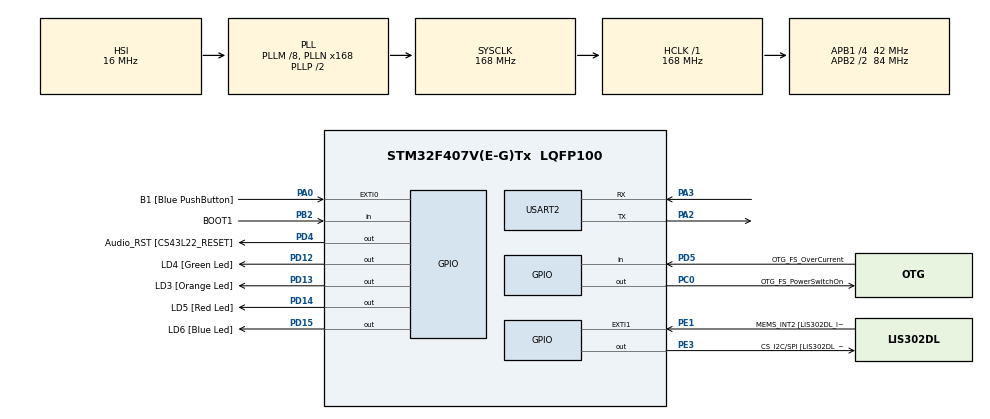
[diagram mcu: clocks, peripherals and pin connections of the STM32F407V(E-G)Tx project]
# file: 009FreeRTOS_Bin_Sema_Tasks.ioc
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Mcu.Family=STM32F4
Mcu.Name=STM32F407V(E-G)Tx
Mcu.Package=LQFP100
NVIC.PriorityGroup=NVIC_PRIORITYGROUP_4
NVIC.TIM6_DAC_IRQn=true\:0\:0\:false\:false\:true\:false\:true
NVIC.TimeBase=TIM6_DAC_IRQn
NVIC.TimeBaseIP=TIM6
NVIC.USART2_IRQn=true\:6\:0\:true\:false\:true\:true\:true
PA0-WKUP.GPIO_Label=B1 [Blue PushButton]
PA0-WKUP.Signal=GPXTI0
PA10.GPIO_Label=OTG_FS_ID
PA10.GPIO_Mode=GPIO_MODE_AF_PP
PA10.GPIO_PuPd=GPIO_NOPULL
PA10.GPIO_Speed=GPIO_SPEED_FREQ_LOW
PA10.Signal=USB_OTG_FS_ID
PA11.GPIO_Label=OTG_FS_DM
PA11.GPIO_Mode=GPIO_MODE_AF_PP
PA11.GPIO_PuPd=GPIO_NOPULL
PA11.GPIO_Speed=GPIO_SPEED_FREQ_LOW
PA11.Signal=USB_OTG_FS_DM
PA12.GPIO_Label=OTG_FS_DP
PA12.GPIO_Mode=GPIO_MODE_AF_PP
PA12.GPIO_PuPd=GPIO_NOPULL
PA12.GPIO_Speed=GPIO_SPEED_FREQ_LOW
PA12.Signal=USB_OTG_FS_DP
PA13.GPIO_Label=SWDIO
PA13.Signal=SYS_JTMS-SWDIO
PA14.GPIO_Label=SWCLK
PA14.Signal=SYS_JTCK-SWCLK
PA2.Mode=Asynchronous
PA2.Signal=USART2_TX
PA3.Mode=Asynchronous
PA3.Signal=USART2_RX
PA4.GPIO_Label=I2S3_WS [CS43L22_LRCK]
PA4.GPIO_Mode=GPIO_MODE_AF_PP
PA4.GPIO_PuPd=GPIO_NOPULL
PA4.GPIO_Speed=GPIO_SPEED_FREQ_LOW
PA4.Signal=I2S3_WS
PA5.GPIO_Label=SPI1_SCK [LIS302DL_SCL/SPC]
PA5.GPIO_Mode=GPIO_MODE_AF_PP
PA5.GPIO_PuPd=GPIO_NOPULL
PA5.GPIO_Speed=GPIO_SPEED_FREQ_LOW
PA5.Signal=SPI1_SCK
PA6.GPIO_Label=SPI1_MISO [LIS302DL_SDO]
PA6.GPIO_Mode=GPIO_MODE_AF_PP
PA6.GPIO_PuPd=GPIO_NOPULL
PA6.GPIO_Speed=GPIO_SPEED_FREQ_LOW
PA6.Signal=SPI1_MISO
PA7.GPIO_Label=SPI1_MOSI [LIS302DL_SDA/SDI/SDO]
PA7.GPIO_Mode=GPIO_MODE_AF_PP
PA7.GPIO_PuPd=GPIO_NOPULL
PA7.GPIO_Speed=GPIO_SPEED_FREQ_LOW
PA7.Signal=SPI1_MOSI
PA9.GPIO_Label=VBUS_FS
PA9.GPIO_Mode=GPIO_MODE_INPUT
PA9.GPIO_PuPd=GPIO_NOPULL
PA9.Signal=USB_OTG_FS_VBUS
PB10.GPIO_Label=CLK_IN [MP45DT02_CLK]
PB10.GPIO_Mode=GPIO_MODE_AF_PP
PB10.GPIO_PuPd=GPIO_NOPULL
PB10.GPIO_Speed=GPIO_SPEED_FREQ_LOW
PB10.Signal=I2S2_CK
PB2.GPIO_Label=BOOT1
PB2.GPIO_Mode=GPIO_MODE_INPUT
PB2.GPIO_PuPd=GPIO_NOPULL
PB2.Signal=GPIO_Input
PB3.GPIO_Label=SWO
PB3.Signal=SYS_JTDO-SWO
PB6.GPIO_Label=Audio_SCL [CS43L22_SCL]
PB6.GPIO_Mode=GPIO_MODE_AF_OD
PB6.GPIO_PuPd=GPIO_NOPULL
PB6.GPIO_Speed=GPIO_SPEED_FREQ_LOW
PB6.Signal=I2C1_SCL
PB9.GPIO_Label=Audio_SDA [CS43L22_SDA]
PB9.GPIO_Mode=GPIO_MODE_AF_OD
PB9.GPIO_PuPd=GPIO_NOPULL
PB9.GPIO_Speed=GPIO_SPEED_FREQ_LOW
PB9.Signal=I2C1_SDA
PC0.GPIO_Label=OTG_FS_PowerSwitchOn
PC0.GPIO_PuPd=GPIO_NOPULL
PC0.GPIO_Speed=GPIO_SPEED_FREQ_LOW
PC0.PinState=GPIO_PIN_SET
PC0.Signal=GPIO_Output
PC10.GPIO_Label=I2S3_SCK [CS43L22_SCLK]
PC10.GPIO_Mode=GPIO_MODE_AF_PP
PC10.GPIO_PuPd=GPIO_NOPULL
PC10.GPIO_Speed=GPIO_SPEED_FREQ_LOW
PC10.Signal=I2S3_CK
PC12.GPIO_Label=I2S3_SD [CS43L22_SDIN]
PC12.GPIO_Mode=GPIO_MODE_AF_PP
PC12.GPIO_PuPd=GPIO_NOPULL
PC12.GPIO_Speed=GPIO_SPEED_FREQ_LOW
PC12.Signal=I2S3_SD
PC14-OSC32_IN.GPIO_Label=PC14-OSC32_IN
PC14-OSC32_IN.Signal=RCC_OSC32_IN
PC15-OSC32_OUT.GPIO_Label=PC15-OSC32_OUT
PC15-OSC32_OUT.Signal=RCC_OSC32_OUT
PC3.GPIO_Label=PDM_OUT [MP45DT02_DOUT]
PC3.GPIO_Mode=GPIO_MODE_AF_PP
PC3.GPIO_PuPd=GPIO_NOPULL
PC3.GPIO_Speed=GPIO_SPEED_FREQ_LOW
PC3.Signal=I2S2_SD
PC7.GPIO_Label=I2S3_MCK [CS43L22_MCLK]
PC7.GPIO_Mode=GPIO_MODE_AF_PP
PC7.GPIO_PuPd=GPIO_NOPULL
PC7.GPIO_Speed=GPIO_SPEED_FREQ_LOW
PC7.Signal=I2S3_MCK
PD12.GPIO_Label=LD4 [Green Led]
PD12.GPIO_PuPd=GPIO_NOPULL
PD12.GPIO_Speed=GPIO_SPEED_FREQ_LOW
PD12.Signal=GPIO_Output
PD13.GPIO_Label=LD3 [Orange Led]
PD13.GPIO_PuPd=GPIO_NOPULL
PD13.GPIO_Speed=GPIO_SPEED_FREQ_LOW
PD13.Signal=GPIO_Output
PD14.GPIO_Label=LD5 [Red Led]
PD14.GPIO_PuPd=GPIO_NOPULL
PD14.GPIO_Speed=GPIO_SPEED_FREQ_LOW
PD14.Signal=GPIO_Output
PD15.GPIO_Label=LD6 [Blue Led]
PD15.GPIO_PuPd=GPIO_NOPULL
PD15.GPIO_Speed=GPIO_SPEED_FREQ_LOW
PD15.Signal=GPIO_Output
PD4.GPIO_Label=Audio_RST [CS43L22_RESET]
PD4.GPIO_PuPd=GPIO_NOPULL
PD4.GPIO_Speed=GPIO_SPEED_FREQ_LOW
PD4.Signal=GPIO_Output
PD5.GPIO_Label=OTG_FS_OverCurrent
PD5.GPIO_Mode=GPIO_MODE_INPUT
PD5.GPIO_PuPd=GPIO_NOPULL
PD5.Signal=GPIO_Input
PE1.GPIO_Label=MEMS_INT2 [LIS302DL_INT2]
PE1.GPIO_ModeDefaultEXTI=GPIO_MODE_EVT_RISING
PE1.GPIO_PuPd=GPIO_NOPULL
PE1.Signal=GPXTI1
PE3.GPIO_Label=CS_I2C/SPI [LIS302DL_CS_I2C/SPI]
PE3.GPIO_PuPd=GPIO_NOPULL
PE3.GPIO_Speed=GPIO_SPEED_FREQ_LOW
PE3.Signal=GPIO_Output
PH0-OSC_IN.GPIO_Label=PH0-OSC_IN
PH0-OSC_IN.Signal=RCC_OSC_IN
PH1-OSC_OUT.GPIO_Label=PH1-OSC_OUT
PH1-OSC_OUT.Signal=RCC_OSC_OUT
ProjectManager.HeapSize=0x200
ProjectManager.StackSize=0x400
ProjectManager.TargetToolchain=STM32CubeIDE
RCC.48MHZClocksFreq_Value=48000000
RCC.AHBFreq_Value=168000000
RCC.APB1CLKDivider=RCC_HCLK_DIV4
RCC.APB1Freq_Value=42000000
RCC.APB1TimFreq_Value=84000000
RCC.APB2CLKDivider=RCC_HCLK_DIV2
RCC.APB2Freq_Value=84000000
RCC.APB2TimFreq_Value=168000000
RCC.CortexFreq_Value=168000000
RCC.HCLKFreq_Value=168000000
RCC.HSE_VALUE=8000000
RCC.HSI_VALUE=16000000
RCC.LSE_VALUE=32768
RCC.PLLM=8
RCC.PLLN=168
RCC.PLLQ=7
RCC.SYSCLKFreq_VALUE=168000000
RCC.SYSCLKSource=RCC_SYSCLKSOURCE_PLLCLK
RCC.VCOOutputFreq_Value=336000000
USART2.VirtualMode=VM_ASYNC
VP_SYS_VS_tim6.Mode=TIM6
board=STM32F407G-DISC1

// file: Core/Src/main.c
/* USER CODE BEGIN Header */
/**
  ******************************************************************************
  * @file           : main.c
  * @brief          : Main program body
  ******************************************************************************
  * @attention
  *
  * Copyright (c) 2024 STMicroelectronics.
  * All rights reserved.
  *
  * This software is licensed under terms that can be found in the LICENSE file
  * in the root directory of this software component.
  * If no LICENSE file comes with this software, it is provided AS-IS.
  *
  ******************************************************************************
  */
/* USER CODE END Header */
#include "main.h"

UART_HandleTypeDef huart2;

/* USER CODE BEGIN PV */
TaskHandle_t xTaskHandleM=NULL;
TaskHandle_t xTaskHandleE=NULL;

xSemaphoreHandle xWork;

xQueueHandle xWorkQueue;

char ur_msg[250]={0};

/* USER CODE END PV */

void SystemClock_Config(void);
static void MX_GPIO_Init(void);
static void MX_USART2_UART_Init(void);
/* USER CODE BEGIN PFP */

static void vManagerTask(void *pvParamaters);
static void vEmployeeTask(void *pvParamters);

void EmployeeDoWork(unsigned char TicketId);

void print_msg(char *msg);
/* USER CODE END PFP */

int main(void)
{
  /* USER CODE BEGIN 1 */
	BaseType_t status;
  /* USER CODE END 1 */

  /* MCU Configuration--------------------------------------------------------*/

  /* Reset of all peripherals, Initializes the Flash interface and the Systick. */
  HAL_Init();

  /* Configure the system clock */
  SystemClock_Config();

  /* Initialize all configured peripherals */
  MX_GPIO_Init();
  MX_USART2_UART_Init();
  /* USER CODE BEGIN 2 */

  sprintf(ur_msg,"Demo of binary semaphore usage between 2 tasks \r\n");
  print_msg(ur_msg);

  /* Before a semaphore is used it must be explicitly created.
       * In this example a binary semaphore is created . */
      vSemaphoreCreateBinary( xWork );

  	/* The queue is created to hold a maximum of 1 Element. */
      xWorkQueue = xQueueCreate( 1, sizeof( unsigned int ) );

      /* Check the semaphore and queue was created successfully. */
      if( (xWork != NULL) && (xWorkQueue != NULL) )
      {

  		/* Create the 'Manager' task.  This is the task that will be synchronized with the Employee task.  The Manager task is created with a high priority  */
          xTaskCreate( vManagerTask, "Manager", 500, NULL, 3, &xTaskHandleM );

          /* Create a employee task with less priority than manager */
          xTaskCreate( vEmployeeTask, "Employee", 500, NULL, 1, &xTaskHandleE );

          /* Start the scheduler so the created tasks start executing. */
          vTaskStartScheduler();
      }

      sprintf(ur_msg,"Queue/Sema create failed.. \r\n");
      print_msg(ur_msg);
  /* USER CODE END 2 */

  /* Infinite loop */
  while (1)
  {

  }
}

void SystemClock_Config(void)
{
  RCC_OscInitTypeDef RCC_OscInitStruct = {0};
  RCC_ClkInitTypeDef RCC_ClkInitStruct = {0};

  /** Configure the main internal regulator output voltage
  */
  __HAL_RCC_PWR_CLK_ENABLE();
  __HAL_PWR_VOLTAGESCALING_CONFIG(PWR_REGULATOR_VOLTAGE_SCALE1);
  /** Initializes the RCC Oscillators according to the specified parameters
  * in the RCC_OscInitTypeDef structure.
  */
  RCC_OscInitStruct.OscillatorType = RCC_OSCILLATORTYPE_HSI;
  RCC_OscInitStruct.HSIState = RCC_HSI_ON;
  RCC_OscInitStruct.HSICalibrationValue = RCC_HSICALIBRATION_DEFAULT;
  RCC_OscInitStruct.PLL.PLLState = RCC_PLL_ON;
  RCC_OscInitStruct.PLL.PLLSource = RCC_PLLSOURCE_HSI;
  RCC_OscInitStruct.PLL.PLLM = 8;
  RCC_OscInitStruct.PLL.PLLN = 168;
  RCC_OscInitStruct.PLL.PLLP = RCC_PLLP_DIV2;
  RCC_OscInitStruct.PLL.PLLQ = 7;
  if (HAL_RCC_OscConfig(&RCC_OscInitStruct) != HAL_OK)
  {
    Error_Handler();
  }
  /** Initializes the CPU, AHB and APB buses clocks
  */
  RCC_ClkInitStruct.ClockType = RCC_CLOCKTYPE_HCLK|RCC_CLOCKTYPE_SYSCLK
                              |RCC_CLOCKTYPE_PCLK1|RCC_CLOCKTYPE_PCLK2;
  RCC_ClkInitStruct.SYSCLKSource = RCC_SYSCLKSOURCE_PLLCLK;
  RCC_ClkInitStruct.AHBCLKDivider = RCC_SYSCLK_DIV1;
  RCC_ClkInitStruct.APB1CLKDivider = RCC_HCLK_DIV4;
  RCC_ClkInitStruct.APB2CLKDivider = RCC_HCLK_DIV2;

  if (HAL_RCC_ClockConfig(&RCC_ClkInitStruct, FLASH_LATENCY_5) != HAL_OK)
  {
    Error_Handler();
  }
}

static void MX_USART2_UART_Init(void)
{

  huart2.Instance = USART2;
  huart2.Init.BaudRate = 115200;
  huart2.Init.WordLength = UART_WORDLENGTH_8B;
  huart2.Init.StopBits = UART_STOPBITS_1;
  huart2.Init.Parity = UART_PARITY_NONE;
  huart2.Init.Mode = UART_MODE_TX_RX;
  huart2.Init.HwFlowCtl = UART_HWCONTROL_NONE;
  huart2.Init.OverSampling = UART_OVERSAMPLING_16;
  if (HAL_UART_Init(&huart2) != HAL_OK)
  {
    Error_Handler();
  }

}

static void MX_GPIO_Init(void)
{
  GPIO_InitTypeDef GPIO_InitStruct = {0};

  /* GPIO Ports Clock Enable */
  __HAL_RCC_GPIOE_CLK_ENABLE();
  __HAL_RCC_GPIOC_CLK_ENABLE();
  __HAL_RCC_GPIOH_CLK_ENABLE();
  __HAL_RCC_GPIOA_CLK_ENABLE();
  __HAL_RCC_GPIOB_CLK_ENABLE();
  __HAL_RCC_GPIOD_CLK_ENABLE();

  /*Configure GPIO pin Output Level */
  HAL_GPIO_WritePin(CS_I2C_SPI_GPIO_Port, CS_I2C_SPI_Pin, GPIO_PIN_RESET);

  /*Configure GPIO pin Output Level */
  HAL_GPIO_WritePin(OTG_FS_PowerSwitchOn_GPIO_Port, OTG_FS_PowerSwitchOn_Pin, GPIO_PIN_SET);

  /*Configure GPIO pin Output Level */
  HAL_GPIO_WritePin(GPIOD, LD4_Pin|LD3_Pin|LD5_Pin|LD6_Pin
                          |Audio_RST_Pin, GPIO_PIN_RESET);

  /*Configure GPIO pin : CS_I2C_SPI_Pin */
  GPIO_InitStruct.Pin = CS_I2C_SPI_Pin;
  GPIO_InitStruct.Mode = GPIO_MODE_OUTPUT_PP;
  GPIO_InitStruct.Pull = GPIO_NOPULL;
  GPIO_InitStruct.Speed = GPIO_SPEED_FREQ_LOW;
  HAL_GPIO_Init(CS_I2C_SPI_GPIO_Port, &GPIO_InitStruct);

  /*Configure GPIO pin : OTG_FS_PowerSwitchOn_Pin */
  GPIO_InitStruct.Pin = OTG_FS_PowerSwitchOn_Pin;
  GPIO_InitStruct.Mode = GPIO_MODE_OUTPUT_PP;
  GPIO_InitStruct.Pull = GPIO_NOPULL;
  GPIO_InitStruct.Speed = GPIO_SPEED_FREQ_LOW;
  HAL_GPIO_Init(OTG_FS_PowerSwitchOn_GPIO_Port, &GPIO_InitStruct);

  /*Configure GPIO pin : PDM_OUT_Pin */
  GPIO_InitStruct.Pin = PDM_OUT_Pin;
  GPIO_InitStruct.Mode = GPIO_MODE_AF_PP;
  GPIO_InitStruct.Pull = GPIO_NOPULL;
  GPIO_InitStruct.Speed = GPIO_SPEED_FREQ_LOW;
  GPIO_InitStruct.Alternate = GPIO_AF5_SPI2;
  HAL_GPIO_Init(PDM_OUT_GPIO_Port, &GPIO_InitStruct);

  /*Configure GPIO pin : B1_Pin */
  GPIO_InitStruct.Pin = B1_Pin;
  GPIO_InitStruct.Mode = GPIO_MODE_IT_RISING;
  GPIO_InitStruct.Pull = GPIO_NOPULL;
  HAL_GPIO_Init(B1_GPIO_Port, &GPIO_InitStruct);

  /*Configure GPIO pin : I2S3_WS_Pin */
  GPIO_InitStruct.Pin = I2S3_WS_Pin;
  GPIO_InitStruct.Mode = GPIO_MODE_AF_PP;
  GPIO_InitStruct.Pull = GPIO_NOPULL;
  GPIO_InitStruct.Speed = GPIO_SPEED_FREQ_LOW;
  GPIO_InitStruct.Alternate = GPIO_AF6_SPI3;
  HAL_GPIO_Init(I2S3_WS_GPIO_Port, &GPIO_InitStruct);

  /*Configure GPIO pins : SPI1_SCK_Pin SPI1_MISO_Pin SPI1_MOSI_Pin */
  GPIO_InitStruct.Pin = SPI1_SCK_Pin|SPI1_MISO_Pin|SPI1_MOSI_Pin;
  GPIO_InitStruct.Mode = GPIO_MODE_AF_PP;
  GPIO_InitStruct.Pull = GPIO_NOPULL;
  GPIO_InitStruct.Speed = GPIO_SPEED_FREQ_LOW;
  GPIO_InitStruct.Alternate = GPIO_AF5_SPI1;
  HAL_GPIO_Init(GPIOA, &GPIO_InitStruct);

  /*Configure GPIO pin : BOOT1_Pin */
  GPIO_InitStruct.Pin = BOOT1_Pin;
  GPIO_InitStruct.Mode = GPIO_MODE_INPUT;
  GPIO_InitStruct.Pull = GPIO_NOPULL;
  HAL_GPIO_Init(BOOT1_GPIO_Port, &GPIO_InitStruct);

  /*Configure GPIO pin : CLK_IN_Pin */
  GPIO_InitStruct.Pin = CLK_IN_Pin;
  GPIO_InitStruct.Mode = GPIO_MODE_AF_PP;
  GPIO_InitStruct.Pull = GPIO_NOPULL;
  GPIO_InitStruct.Speed = GPIO_SPEED_FREQ_LOW;
  GPIO_InitStruct.Alternate = GPIO_AF5_SPI2;
  HAL_GPIO_Init(CLK_IN_GPIO_Port, &GPIO_InitStruct);

  /*Configure GPIO pins : LD4_Pin LD3_Pin LD5_Pin LD6_Pin
                           Audio_RST_Pin */
  GPIO_InitStruct.Pin = LD4_Pin|LD3_Pin|LD5_Pin|LD6_Pin
                          |Audio_RST_Pin;
  GPIO_InitStruct.Mode = GPIO_MODE_OUTPUT_PP;
  GPIO_InitStruct.Pull = GPIO_NOPULL;
  GPIO_InitStruct.Speed = GPIO_SPEED_FREQ_LOW;
  HAL_GPIO_Init(GPIOD, &GPIO_InitStruct);

  /*Configure GPIO pins : I2S3_MCK_Pin I2S3_SCK_Pin I2S3_SD_Pin */
  GPIO_InitStruct.Pin = I2S3_MCK_Pin|I2S3_SCK_Pin|I2S3_SD_Pin;
  GPIO_InitStruct.Mode = GPIO_MODE_AF_PP;
  GPIO_InitStruct.Pull = GPIO_NOPULL;
  GPIO_InitStruct.Speed = GPIO_SPEED_FREQ_LOW;
  GPIO_InitStruct.Alternate = GPIO_AF6_SPI3;
  HAL_GPIO_Init(GPIOC, &GPIO_InitStruct);

  /*Configure GPIO pin : VBUS_FS_Pin */
  GPIO_InitStruct.Pin = VBUS_FS_Pin;
  GPIO_InitStruct.Mode = GPIO_MODE_INPUT;
  GPIO_InitStruct.Pull = GPIO_NOPULL;
  HAL_GPIO_Init(VBUS_FS_GPIO_Port, &GPIO_InitStruct);

  /*Configure GPIO pins : OTG_FS_ID_Pin OTG_FS_DM_Pin OTG_FS_DP_Pin */
  GPIO_InitStruct.Pin = OTG_FS_ID_Pin|OTG_FS_DM_Pin|OTG_FS_DP_Pin;
  GPIO_InitStruct.Mode = GPIO_MODE_AF_PP;
  GPIO_InitStruct.Pull = GPIO_NOPULL;
  GPIO_InitStruct.Speed = GPIO_SPEED_FREQ_LOW;
  GPIO_InitStruct.Alternate = GPIO_AF10_OTG_FS;
  HAL_GPIO_Init(GPIOA, &GPIO_InitStruct);

  /*Configure GPIO pin : OTG_FS_OverCurrent_Pin */
  GPIO_InitStruct.Pin = OTG_FS_OverCurrent_Pin;
  GPIO_InitStruct.Mode = GPIO_MODE_INPUT;
  GPIO_InitStruct.Pull = GPIO_NOPULL;
  HAL_GPIO_Init(OTG_FS_OverCurrent_GPIO_Port, &GPIO_InitStruct);

  /*Configure GPIO pins : Audio_SCL_Pin Audio_SDA_Pin */
  GPIO_InitStruct.Pin = Audio_SCL_Pin|Audio_SDA_Pin;
  GPIO_InitStruct.Mode = GPIO_MODE_AF_OD;
  GPIO_InitStruct.Pull = GPIO_NOPULL;
  GPIO_InitStruct.Speed = GPIO_SPEED_FREQ_LOW;
  GPIO_InitStruct.Alternate = GPIO_AF4_I2C1;
  HAL_GPIO_Init(GPIOB, &GPIO_InitStruct);

  /*Configure GPIO pin : MEMS_INT2_Pin */
  GPIO_InitStruct.Pin = MEMS_INT2_Pin;
  GPIO_InitStruct.Mode = GPIO_MODE_EVT_RISING;
  GPIO_InitStruct.Pull = GPIO_NOPULL;
  HAL_GPIO_Init(MEMS_INT2_GPIO_Port, &GPIO_InitStruct);

}

/* USER CODE BEGIN 4 */

static void vManagerTask(void *pvParamaters)
{
	unsigned int xWorkTicketId;
	BaseType_t xStatus;

	xSemaphoreGive(xWork);

	while(1)
	{

		xWorkTicketId= ( rand() & 0x1ff );

		xStatus=xQueueSend(xWorkQueue,&xWorkTicketId,portMAX_DELAY );

		if(xStatus!=pdPASS)
		{
			sprintf(ur_msg,"Could not send to the queue. \r\n");
			print_msg(ur_msg);
		}
		else
		{
			xSemaphoreGive(xWork);

			taskYIELD();
		}

	}

}
static void vEmployeeTask(void *pvParamters)
{
	unsigned char xWorkTicketId;
	BaseType_t xStatus;

	while(xSemaphoreTake(xWork,0))
	{

		xStatus = xQueueReceive(xWorkQueue, &xWorkTicketId, portMAX_DELAY);

		if (xStatus == pdPASS)
		{
			EmployeeDoWork(xWorkTicketId);
		}
		else
		{
			sprintf(ur_msg,"Employee task: Queue is empty nothing to do \r\n");
			print_msg(ur_msg);
		}

	}

}

void EmployeeDoWork(unsigned char TicketId)
{
	sprintf(ur_msg,"Employee task: Working on ticket id:%d \r\n",TicketId);
	print_msg(ur_msg);
	vTaskDelay(TicketId);
}

void print_msg(char *msg)
{
		HAL_UART_Transmit(&huart2, (uint8_t*)msg, strlen(msg), HAL_MAX_DELAY);

}

/* USER CODE END 4 */

void HAL_TIM_PeriodElapsedCallback(TIM_HandleTypeDef *htim)
{
  if (htim->Instance == TIM6) {
    HAL_IncTick();
  }
}

void Error_Handler(void)
{
  __disable_irq();
  while (1)
  {
  }
}
